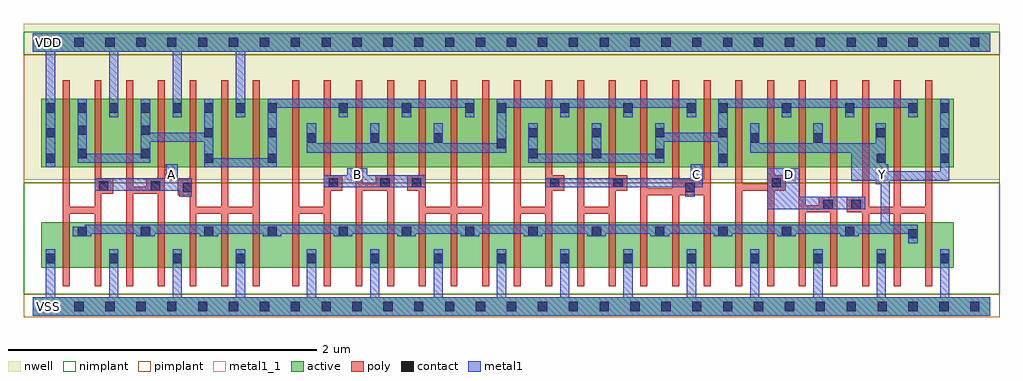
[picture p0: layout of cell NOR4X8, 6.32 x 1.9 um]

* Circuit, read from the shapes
.subckt NOR4X8 A B C D VDD VSS Y
M1 Y A VSS VSS nfet w=0.295u l=0.045u m=7
M2 VSS B Y VSS nfet w=0.295u l=0.045u m=7
M3 Y C VSS VSS nfet w=0.295u l=0.045u m=7
M4 VSS D Y VSS nfet w=0.295u l=0.045u m=7
M5 n1 A VDD VDD pfet w=0.445u l=0.045u m=7
M6 n2 B n1 VDD pfet w=0.445u l=0.045u m=7
M7 n3 C n2 VDD pfet w=0.445u l=0.045u m=7
M8 Y D n3 VDD pfet w=0.445u l=0.045u m=7
.ends

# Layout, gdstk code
import gdstk
lib = gdstk.Library(unit=1e-6, precision=5e-10)
def R(c, l, rs):  # rectangles x0, y0, x1, y1
    for r in rs: c.add(gdstk.rectangle(r[:2], r[2:], *l))
def A(c, l, x, y, w, h, nx, ny, dx, dy):  # array of equal rectangles
    R(c, l, [(x+i*dx, y+j*dy, x+i*dx+w, y+j*dy+h) for i in range(nx) for j in range(ny)])
def P(c, l, *ps):  # polygons
    for p in ps: c.add(gdstk.Polygon(p, *l))
active = (1, 0)
nwell = (2, 0)
poly = (3, 0)
nimplant = (4, 0)
pimplant = (5, 0)
contact = (6, 0)
metal1 = (7, 0)
metal1_1 = (7, 1)

nor4x8 = lib.new_cell('NOR4X8')
R(nor4x8, active, [(0,-0.06,6.2,0.06), (0.055,0.25,5.965,0.545), (0.055,0.9,5.965,1.345), (0,1.65,6.2,1.77)])
R(nor4x8, nwell, [(-0.06,0.82,6.26,1.83)])
P(nor4x8, poly, [(0.195,1.465),(0.24,1.465),(0.24,0.645),(0.4,0.645),(0.4,1.465),(0.445,1.465),(0.445,0.83),(0.52,0.83),(0.52,0.73),(0.445,0.73),(0.445,0.13),(0.4,0.13),(0.4,0.6),(0.24,0.6),(0.24,0.13),(0.195,0.13)],
  [(0.605,1.465),(0.65,1.465),(0.65,0.775),(0.735,0.775),(0.735,0.83),(0.81,0.83),(0.81,1.465),(0.855,1.465),(0.855,0.13),(0.81,0.13),(0.81,0.73),(0.65,0.73),(0.65,0.13),(0.605,0.13)],
  [(1.015,1.465),(1.06,1.465),(1.06,0.645),(1.22,0.645),(1.22,1.465),(1.265,1.465),(1.265,0.645),(1.425,0.645),(1.425,1.465),(1.47,1.465),(1.47,0.13),(1.425,0.13),(1.425,0.6),(1.265,0.6),(1.265,0.13),(1.22,0.13),(1.22,0.6),(1.06,0.6),(1.06,0.13),(1.015,0.13),(1.015,0.72),(0.94,0.72),(0.94,0.82),(1.015,0.82)],
  [(1.68,1.465),(1.725,1.465),(1.725,0.645),(1.885,0.645),(1.885,1.465),(1.93,1.465),(1.93,0.85),(2.005,0.85),(2.005,0.75),(1.93,0.75),(1.93,0.13),(1.885,0.13),(1.885,0.6),(1.725,0.6),(1.725,0.13),(1.68,0.13)],
  [(2.09,1.465),(2.135,1.465),(2.135,0.795),(2.22,0.795),(2.22,0.85),(2.295,0.85),(2.295,1.465),(2.34,1.465),(2.34,0.13),(2.295,0.13),(2.295,0.75),(2.135,0.75),(2.135,0.13),(2.09,0.13)],
  [(2.5,1.465),(2.545,1.465),(2.545,0.645),(2.705,0.645),(2.705,1.465),(2.75,1.465),(2.75,0.645),(2.91,0.645),(2.91,1.465),(2.955,1.465),(2.955,0.13),(2.91,0.13),(2.91,0.6),(2.75,0.6),(2.75,0.13),(2.705,0.13),(2.705,0.6),(2.545,0.6),(2.545,0.13),(2.5,0.13),(2.5,0.75),(2.425,0.75),(2.425,0.85),(2.5,0.85)],
  [(3.115,1.465),(3.16,1.465),(3.16,0.645),(3.32,0.645),(3.32,1.465),(3.365,1.465),(3.365,0.85),(3.44,0.85),(3.44,0.75),(3.365,0.75),(3.365,0.13),(3.32,0.13),(3.32,0.6),(3.16,0.6),(3.16,0.13),(3.115,0.13)],
  [(3.525,1.465),(3.57,1.465),(3.57,0.645),(3.73,0.645),(3.73,1.465),(3.775,1.465),(3.775,0.85),(3.85,0.85),(3.85,0.75),(3.775,0.75),(3.775,0.13),(3.73,0.13),(3.73,0.6),(3.57,0.6),(3.57,0.13),(3.525,0.13)],
  [(3.935,1.465),(3.98,1.465),(3.98,0.765),(4.14,0.765),(4.14,1.465),(4.185,1.465),(4.185,0.82),(4.345,0.82),(4.345,1.465),(4.39,1.465),(4.39,0.13),(4.345,0.13),(4.345,0.72),(4.185,0.72),(4.185,0.13),(4.14,0.13),(4.14,0.72),(3.98,0.72),(3.98,0.13),(3.935,0.13)],
  [(4.55,1.465),(4.595,1.465),(4.595,0.795),(4.755,0.795),(4.755,1.465),(4.8,1.465),(4.8,0.85),(4.875,0.85),(4.875,0.75),(4.8,0.75),(4.8,0.13),(4.755,0.13),(4.755,0.75),(4.595,0.75),(4.595,0.13),(4.55,0.13)],
  [(4.96,1.465),(5.005,1.465),(5.005,0.655),(5.09,0.655),(5.09,0.71),(5.165,0.71),(5.165,1.465),(5.21,1.465),(5.21,0.13),(5.165,0.13),(5.165,0.61),(5.005,0.61),(5.005,0.13),(4.96,0.13)],
  [(5.37,1.465),(5.415,1.465),(5.415,0.645),(5.575,0.645),(5.575,1.465),(5.62,1.465),(5.62,0.645),(5.78,0.645),(5.78,1.465),(5.825,1.465),(5.825,0.13),(5.78,0.13),(5.78,0.6),(5.62,0.6),(5.62,0.13),(5.575,0.13),(5.575,0.6),(5.415,0.6),(5.415,0.13),(5.37,0.13),(5.37,0.61),(5.27,0.61),(5.27,0.71),(5.37,0.71)])
R(nor4x8, nimplant, [(-0.06,0.08,6.26,0.8), (-0.06,1.63,6.26,1.78)])
R(nor4x8, pimplant, [(-0.06,-0.07,6.26,0.08), (-0.06,0.8,6.26,1.63)])
A(nor4x8, contact, 0.07, -0.03, 0.06, 0.06, 31, 2, 0.2, 1.71)
A(nor4x8, contact, 0.085, 0.28, 0.06, 0.06, 4, 1, 0.41, 0)
A(nor4x8, contact, 1.775, 0.28, 0.06, 0.06, 11, 1, 0.41, 0)
A(nor4x8, contact, 0.29, 0.455, 0.06, 0.06, 4, 1, 0.41, 0)
A(nor4x8, contact, 1.98, 0.455, 0.06, 0.06, 9, 1, 0.41, 0)
A(nor4x8, contact, 3.21, 0.96, 0.06, 0.06, 3, 1, 0.41, 0)
A(nor4x8, contact, 1.775, 1.06, 0.06, 0.06, 3, 1, 0.41, 0)
A(nor4x8, contact, 3.21, 1.095, 0.06, 0.06, 4, 1, 0.41, 0)
A(nor4x8, contact, 0.085, 1.255, 0.06, 0.06, 8, 1, 0.205, 0)
A(nor4x8, contact, 1.98, 1.255, 0.06, 0.06, 3, 1, 0.41, 0)
A(nor4x8, contact, 3.005, 1.255, 0.06, 0.06, 4, 1, 0.41, 0)
A(nor4x8, contact, 4.44, 1.255, 0.06, 0.06, 4, 1, 0.41, 0)
R(nor4x8, contact, [(5.67,0.44,5.73,0.5), (5.12,0.63,5.18,0.69), (5.3,0.63,5.36,0.69), (0.97,0.74,1.03,0.8), (4.225,0.74,4.285,0.8), (0.43,0.75,0.49,0.81), (0.765,0.75,0.825,0.81), (1.915,0.77,1.975,0.83), (2.25,0.77,2.31,0.83), (2.455,0.77,2.515,0.83), (3.35,0.77,3.41,0.83), (3.76,0.77,3.82,0.83), (4.785,0.77,4.845,0.83), (0.085,0.93,0.145,0.99), (1.11,0.93,1.17,0.99), (1.52,0.93,1.58,0.99), (4.44,0.93,4.5,0.99), (5.465,0.93,5.525,0.99), (5.875,0.93,5.935,0.99), (0.29,0.96,0.35,1.02), (0.7,0.96,0.76,1.02), (3.005,1.025,3.065,1.085), (4.645,1.06,4.705,1.12), (5.055,1.06,5.115,1.12), (0.085,1.095,0.145,1.155), (1.11,1.095,1.17,1.155), (1.52,1.095,1.58,1.155), (5.465,1.095,5.525,1.155), (5.875,1.095,5.935,1.155), (0.29,1.11,0.35,1.17), (0.7,1.11,0.76,1.17), (5.875,1.255,5.935,1.315)])
P(nor4x8, metal1, [(0,1.77),(6.2,1.77),(6.2,1.65),(1.375,1.65),(1.375,1.225),(1.315,1.225),(1.315,1.65),(0.965,1.65),(0.965,1.225),(0.905,1.225),(0.905,1.65),(0.555,1.65),(0.555,1.225),(0.495,1.225),(0.495,1.65),(0.145,1.65),(0.145,0.9),(0.085,0.9),(0.085,1.65),(0,1.65)],
  [(0.29,1.345),(0.35,1.345),(0.35,0.99),(0.7,0.99),(0.7,1.345),(0.76,1.345),(0.76,1.125),(1.11,1.125),(1.11,1.345),(1.17,1.345),(1.17,0.96),(1.52,0.96),(1.52,1.345),(2.86,1.345),(2.86,1.225),(2.8,1.225),(2.8,1.285),(2.45,1.285),(2.45,1.225),(2.39,1.225),(2.39,1.285),(2.04,1.285),(2.04,1.225),(1.98,1.225),(1.98,1.285),(1.58,1.285),(1.58,0.9),(1.11,0.9),(1.11,1.065),(0.76,1.065),(0.76,0.93),(0.29,0.93)],
  [(3.005,1.345),(4.295,1.345),(4.295,1.225),(4.235,1.225),(4.235,1.285),(3.885,1.285),(3.885,1.225),(3.825,1.225),(3.825,1.285),(3.475,1.285),(3.475,1.225),(3.415,1.225),(3.415,1.285),(3.065,1.285),(3.065,0.995),(1.775,0.995),(1.775,1.185),(1.835,1.185),(1.835,1.055),(2.185,1.055),(2.185,1.185),(2.245,1.185),(2.245,1.055),(2.595,1.055),(2.595,1.185),(2.655,1.185),(2.655,1.055),(3.005,1.055)],
  [(4.44,1.345),(5.73,1.345),(5.73,1.225),(5.67,1.225),(5.67,1.285),(5.32,1.285),(5.32,1.225),(5.26,1.225),(5.26,1.285),(4.91,1.285),(4.91,1.225),(4.85,1.225),(4.85,1.285),(4.5,1.285),(4.5,0.9),(4.44,0.9),(4.44,1.065),(4.09,1.065),(4.09,0.93),(3.21,0.93),(3.21,1.185),(3.27,1.185),(3.27,0.99),(3.62,0.99),(3.62,1.185),(3.68,1.185),(3.68,0.99),(4.03,0.99),(4.03,1.185),(4.09,1.185),(4.09,1.125),(4.44,1.125)],
  [(4.645,1.185),(4.705,1.185),(4.705,1.055),(5.055,1.055),(5.055,1.185),(5.115,1.185),(5.115,1.055),(5.46,1.055),(5.46,1.185),(5.525,1.185),(5.525,0.92),(5.54,0.92),(5.54,0.875),(5.875,0.875),(5.875,1.345),(5.935,1.345),(5.935,0.815),(5.55,0.815),(5.55,0.53),(5.73,0.53),(5.73,0.41),(5.67,0.41),(5.67,0.47),(5.35,0.47),(5.35,0.455),(5.23,0.455),(5.23,0.47),(4.94,0.47),(4.94,0.455),(4.82,0.455),(4.82,0.47),(4.53,0.47),(4.53,0.455),(4.41,0.455),(4.41,0.47),(4.12,0.47),(4.12,0.455),(4,0.455),(4,0.47),(3.71,0.47),(3.71,0.455),(3.59,0.455),(3.59,0.47),(3.3,0.47),(3.3,0.455),(3.18,0.455),(3.18,0.47),(2.89,0.47),(2.89,0.455),(2.77,0.455),(2.77,0.47),(2.48,0.47),(2.48,0.455),(2.36,0.455),(2.36,0.47),(2.07,0.47),(2.07,0.455),(1.95,0.455),(1.95,0.47),(1.61,0.47),(1.61,0.455),(1.49,0.455),(1.49,0.47),(1.2,0.47),(1.2,0.455),(1.08,0.455),(1.08,0.47),(0.79,0.47),(0.79,0.455),(0.67,0.455),(0.67,0.47),(0.38,0.47),(0.38,0.455),(0.26,0.455),(0.26,0.515),(0.335,0.515),(0.335,0.53),(5.49,0.53),(5.49,0.79),(5.46,0.79),(5.46,0.815),(5.3,0.815),(5.3,0.995),(4.645,0.995)],
  [(0.86,0.92),(0.94,0.92),(0.94,0.83),(1.03,0.83),(1.03,0.71),(0.95,0.71),(0.95,0.75),(0.4,0.75),(0.4,0.83),(0.86,0.83)],
  [(4.26,0.92),(4.34,0.92),(4.34,0.77),(4.285,0.77),(4.285,0.71),(4.225,0.71),(4.225,0.77),(3.32,0.77),(3.32,0.83),(4.26,0.83)],
  [(2.035,0.895),(2.165,0.895),(2.165,0.85),(2.545,0.85),(2.545,0.77),(1.885,0.77),(1.885,0.85),(2.035,0.85)],
  [(4.755,0.895),(4.965,0.895),(4.965,0.71),(5.39,0.71),(5.39,0.63),(4.755,0.63)],
  [(0.085,0.37),(0.145,0.37),(0.145,0.06),(0.495,0.06),(0.495,0.37),(0.555,0.37),(0.555,0.06),(0.905,0.06),(0.905,0.37),(0.965,0.37),(0.965,0.06),(1.315,0.06),(1.315,0.37),(1.375,0.37),(1.375,0.06),(1.775,0.06),(1.775,0.37),(1.835,0.37),(1.835,0.06),(2.185,0.06),(2.185,0.37),(2.245,0.37),(2.245,0.06),(2.595,0.06),(2.595,0.37),(2.655,0.37),(2.655,0.06),(3.005,0.06),(3.005,0.37),(3.065,0.37),(3.065,0.06),(3.415,0.06),(3.415,0.37),(3.475,0.37),(3.475,0.06),(3.825,0.06),(3.825,0.37),(3.885,0.37),(3.885,0.06),(4.235,0.06),(4.235,0.37),(4.295,0.37),(4.295,0.06),(4.645,0.06),(4.645,0.37),(4.705,0.37),(4.705,0.06),(5.055,0.06),(5.055,0.37),(5.115,0.37),(5.115,0.06),(5.465,0.06),(5.465,0.37),(5.525,0.37),(5.525,0.06),(5.875,0.06),(5.875,0.37),(5.935,0.37),(5.935,0.06),(6.2,0.06),(6.2,-0.06),(0,-0.06),(0,0.06),(0.085,0.06)])
A(nor4x8, metal1_1, 4.26, 0.815, 0.08, 0.08, 3, 1, 0.6, 0)
R(nor4x8, metal1_1, [(0.06,-0.04,0.14,0.04), (0.86,0.815,0.94,0.895), (2.06,0.815,2.14,0.895), (0.06,1.67,0.14,1.75)])
nor4x8.add(gdstk.Label('Y', (5.5,0.855), layer=7, texttype=1))
nor4x8.add(gdstk.Label('A', (0.9,0.855), layer=7, texttype=1))
nor4x8.add(gdstk.Label('B', (2.1,0.855), layer=7, texttype=1))
nor4x8.add(gdstk.Label('C', (4.3,0.855), layer=7, texttype=1))
nor4x8.add(gdstk.Label('D', (4.9,0.855), layer=7, texttype=1))
nor4x8.add(gdstk.Label('VDD', (0.1,1.71), layer=7, texttype=1))
nor4x8.add(gdstk.Label('VSS', (0.1,0), layer=7, texttype=1))
nor4x8.add(gdstk.Label('NOR4X8', (0,0), layer=63, texttype=0))

lib.write_gds('NOR4X8.gds')
